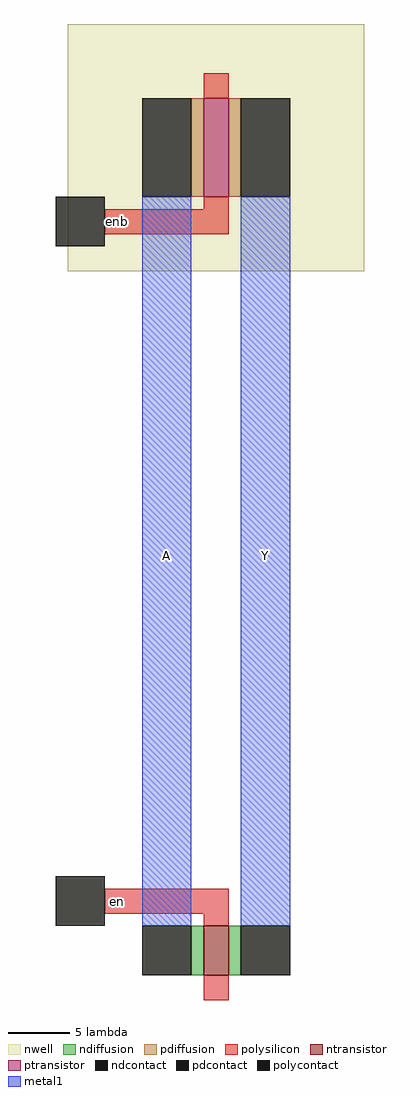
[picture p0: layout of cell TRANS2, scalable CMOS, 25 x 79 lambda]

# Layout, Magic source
magic
tech scmos
<< nwell >>
rect 1 65 25 85
<< ntransistor >>
rect 12 8 14 12
<< ptransistor >>
rect 12 71 14 79
<< ndiffusion >>
rect 11 8 12 12
rect 14 8 15 12
<< pdiffusion >>
rect 11 71 12 79
rect 14 71 15 79
<< ndcontact >>
rect 7 8 11 12
rect 15 8 19 12
<< pdcontact >>
rect 7 71 11 79
rect 15 71 19 79
<< polysilicon >>
rect 12 79 14 81
rect 12 70 14 71
rect 4 68 14 70
rect 4 13 14 15
rect 12 12 14 13
rect 12 6 14 8
<< polycontact >>
rect 0 67 4 71
rect 0 12 4 16
<< metal1 >>
rect 7 12 11 71
rect 15 12 19 71
<< labels >>
rlabel metal1 17 42 17 42 7 Y
rlabel metal1 9 42 9 42 3 A
rlabel polysilicon 5 69 5 69 3 enb
rlabel polysilicon 5 14 5 14 3 en
<< end >>
